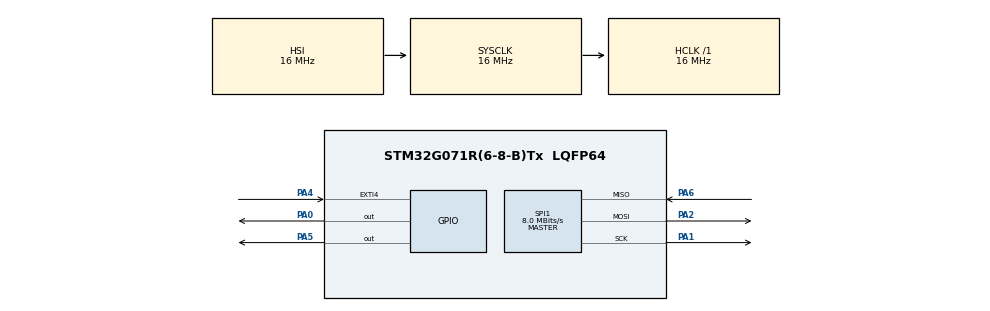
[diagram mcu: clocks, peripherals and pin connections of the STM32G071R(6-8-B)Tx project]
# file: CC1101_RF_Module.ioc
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Mcu.Family=STM32G0
Mcu.Name=STM32G071R(6-8-B)Tx
Mcu.Package=LQFP64
NVIC.EXTI4_15_IRQn=true\:0\:0\:false\:false\:true\:true\:true
PA0.Signal=GPIO_Output
PA1.Mode=Full_Duplex_Master
PA1.Signal=SPI1_SCK
PA2.Mode=Full_Duplex_Master
PA2.Signal=SPI1_MOSI
PA4.Signal=GPXTI4
PA5.Signal=GPIO_Output
PA6.Mode=Full_Duplex_Master
PA6.Signal=SPI1_MISO
ProjectManager.HeapSize=0x200
ProjectManager.StackSize=0x400
ProjectManager.TargetToolchain=STM32CubeIDE
RCC.AHBFreq_Value=16000000
RCC.CortexFreq_Value=16000000
RCC.EXTERNAL_CLOCK_VALUE=48000
RCC.HCLKFreq_Value=16000000
RCC.HSE_VALUE=8000000
RCC.HSI_VALUE=16000000
RCC.LSE_VALUE=32768
RCC.SYSCLKFreq_VALUE=16000000
RCC.VCOOutputFreq_Value=128000000
SPI1.CalculateBaudRate=8.0 MBits/s
SPI1.DataSize=SPI_DATASIZE_8BIT
SPI1.Direction=SPI_DIRECTION_2LINES
SPI1.Mode=SPI_MODE_MASTER
SPI1.VirtualType=VM_MASTER
VP_SYS_VS_DBSignals.Mode=DisableDeadBatterySignals
board=custom

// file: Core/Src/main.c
/* USER CODE BEGIN Header */
/**
  ******************************************************************************
  * @file           : main.c
  * @brief          : Main program body
  ******************************************************************************
  * @attention
  *
  * <h2><center>&copy; Copyright (c) 2021 STMicroelectronics.
  * All rights reserved.</center></h2>
  *
  * This software component is licensed by ST under BSD 3-Clause license,
  * the "License"; You may not use this file except in compliance with the
  * License. You may obtain a copy of the License at:
  *                        opensource.org/licenses/BSD-3-Clause
  *
  ******************************************************************************
  */
/* USER CODE END Header */
#include "main.h"

/* USER CODE BEGIN Includes */
#include "rf_driver.h"
/* USER CODE END Includes */

SPI_HandleTypeDef hspi1;

/* USER CODE BEGIN PV */
uint8_t data1 = 0;
int status[2] = {0};
/* USER CODE END PV */

void SystemClock_Config(void);
static void MX_GPIO_Init(void);
static void MX_SPI1_Init(void);
/* USER CODE BEGIN PFP */
uint8_t rxbuffer[25];
uint16_t len = 13;
uint8_t lq=0, rssi = 0;

/* USER CODE END PFP */

int main(void)
{

  /* MCU Configuration--------------------------------------------------------*/

  /* Reset of all peripherals, Initializes the Flash interface and the Systick. */
  HAL_Init();

  /* Configure the system clock */
  SystemClock_Config();

  /* Initialize all configured peripherals */
  MX_GPIO_Init();
  MX_SPI1_Init();
  /* USER CODE BEGIN 2 */

  if(rf_begin(&hspi1, GFSK_1_2_kb, MHz868, GPIOA, GPIO_PIN_0, GPIO_PIN_4) ==  FALSE)
  {
	  while(1)
	  {
		  HAL_GPIO_WritePin(GPIOA, GPIO_PIN_5, GPIO_PIN_RESET);
		  HAL_Delay(100);
		  HAL_GPIO_WritePin(GPIOA, GPIO_PIN_5, GPIO_PIN_SET);
		  HAL_Delay(100);
	  }
  }

  /* USER CODE END 2 */
  /* Infinite loop */
  /* USER CODE BEGIN WHILE */
#if TRANSMITTING
  uint8_t TestData[13] = {0x00,0x0B,'H','E','E','L','O','W','O','R','L','D',0x00};
  while (1)
  {
    /* USER CODE END WHILE */

    /* USER CODE BEGIN 3 */
	  send_frame(TestData, 13);
	  HAL_Delay(1000);
	  TestData[12]++;
  }
#else
  while (1)
  {
    /* USER CODE END WHILE */

    /* USER CODE BEGIN 3 */
	  rf_receive();
	  len = 13;
	  receive_frame(rxbuffer, &len,0,13, &lq, &rssi);
	  HAL_Delay(1000);

  }
#endif
  /* USER CODE END 3 */
}

void SystemClock_Config(void)
{
  RCC_OscInitTypeDef RCC_OscInitStruct = {0};
  RCC_ClkInitTypeDef RCC_ClkInitStruct = {0};

  /** Configure the main internal regulator output voltage
  */
  HAL_PWREx_ControlVoltageScaling(PWR_REGULATOR_VOLTAGE_SCALE1);
  /** Initializes the RCC Oscillators according to the specified parameters
  * in the RCC_OscInitTypeDef structure.
  */
  RCC_OscInitStruct.OscillatorType = RCC_OSCILLATORTYPE_HSI;
  RCC_OscInitStruct.HSIState = RCC_HSI_ON;
  RCC_OscInitStruct.HSIDiv = RCC_HSI_DIV1;
  RCC_OscInitStruct.HSICalibrationValue = RCC_HSICALIBRATION_DEFAULT;
  RCC_OscInitStruct.PLL.PLLState = RCC_PLL_NONE;
  if (HAL_RCC_OscConfig(&RCC_OscInitStruct) != HAL_OK)
  {
    Error_Handler();
  }
  /** Initializes the CPU, AHB and APB buses clocks
  */
  RCC_ClkInitStruct.ClockType = RCC_CLOCKTYPE_HCLK|RCC_CLOCKTYPE_SYSCLK
                              |RCC_CLOCKTYPE_PCLK1;
  RCC_ClkInitStruct.SYSCLKSource = RCC_SYSCLKSOURCE_HSI;
  RCC_ClkInitStruct.AHBCLKDivider = RCC_SYSCLK_DIV1;
  RCC_ClkInitStruct.APB1CLKDivider = RCC_HCLK_DIV1;

  if (HAL_RCC_ClockConfig(&RCC_ClkInitStruct, FLASH_LATENCY_0) != HAL_OK)
  {
    Error_Handler();
  }
}

static void MX_SPI1_Init(void)
{

  /* SPI1 parameter configuration*/
  hspi1.Instance = SPI1;
  hspi1.Init.Mode = SPI_MODE_MASTER;
  hspi1.Init.Direction = SPI_DIRECTION_2LINES;
  hspi1.Init.DataSize = SPI_DATASIZE_8BIT;
  hspi1.Init.CLKPolarity = SPI_POLARITY_LOW;
  hspi1.Init.CLKPhase = SPI_PHASE_1EDGE;
  hspi1.Init.NSS = SPI_NSS_SOFT;
  hspi1.Init.BaudRatePrescaler = SPI_BAUDRATEPRESCALER_2;
  hspi1.Init.FirstBit = SPI_FIRSTBIT_MSB;
  hspi1.Init.TIMode = SPI_TIMODE_DISABLE;
  hspi1.Init.CRCCalculation = SPI_CRCCALCULATION_DISABLE;
  hspi1.Init.CRCPolynomial = 7;
  hspi1.Init.CRCLength = SPI_CRC_LENGTH_DATASIZE;
  hspi1.Init.NSSPMode = SPI_NSS_PULSE_ENABLE;
  if (HAL_SPI_Init(&hspi1) != HAL_OK)
  {
    Error_Handler();
  }

}

static void MX_GPIO_Init(void)
{
  GPIO_InitTypeDef GPIO_InitStruct = {0};

  /* GPIO Ports Clock Enable */
  __HAL_RCC_GPIOA_CLK_ENABLE();

  /*Configure GPIO pin Output Level */
  HAL_GPIO_WritePin(GPIOA, GPIO_PIN_0|GPIO_PIN_5, GPIO_PIN_RESET);

  /*Configure GPIO pins : PA0 PA5 */
  GPIO_InitStruct.Pin = GPIO_PIN_0|GPIO_PIN_5;
  GPIO_InitStruct.Mode = GPIO_MODE_OUTPUT_PP;
  GPIO_InitStruct.Pull = GPIO_NOPULL;
  GPIO_InitStruct.Speed = GPIO_SPEED_FREQ_LOW;
  HAL_GPIO_Init(GPIOA, &GPIO_InitStruct);

  /*Configure GPIO pin : PA4 */
  GPIO_InitStruct.Pin = GPIO_PIN_4;
  GPIO_InitStruct.Mode = GPIO_MODE_IT_RISING;
  GPIO_InitStruct.Pull = GPIO_NOPULL;
  HAL_GPIO_Init(GPIOA, &GPIO_InitStruct);

  /* EXTI interrupt init*/
  HAL_NVIC_SetPriority(EXTI4_15_IRQn, 0, 0);
  HAL_NVIC_EnableIRQ(EXTI4_15_IRQn);

}

void Error_Handler(void)
{
  __disable_irq();
  while (1)
  {
  }
}

/************************ (C) COPYRIGHT STMicroelectronics *****END OF FILE****/
